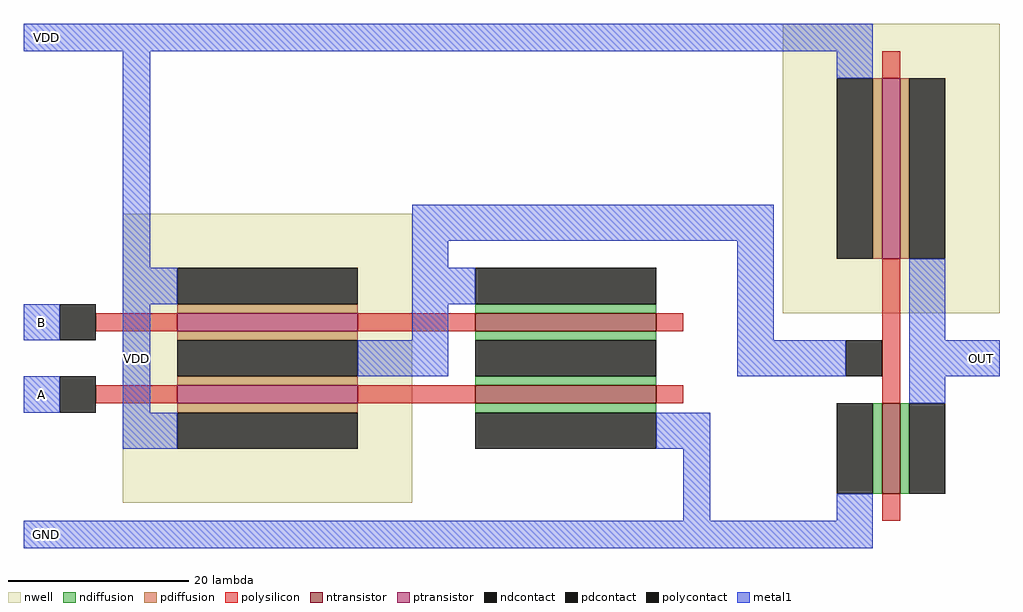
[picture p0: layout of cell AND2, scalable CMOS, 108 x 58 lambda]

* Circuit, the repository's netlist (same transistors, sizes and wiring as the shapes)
* SPICE3 file created from AND2.ext - technology: scmos

.option scale=0.09u

M1000 OUT a_n21_n16# VDD w_46_n8# cmosp w=20 l=2
+  ad=100 pd=50 as=300 ps=150
M1001 a_n21_n16# A VDD w_n27_n29# cmosp w=20 l=2
+  ad=120 pd=52 as=0 ps=0
M1002 VDD B a_n21_n16# w_n27_n29# cmosp w=20 l=2
+  ad=0 pd=0 as=0 ps=0
M1003 a_12_n16# A GND Gnd cmosn w=20 l=2
+  ad=120 pd=52 as=150 ps=80
M1004 OUT a_n21_n16# GND Gnd cmosn w=10 l=2
+  ad=50 pd=30 as=0 ps=0
M1005 a_n21_n16# B a_12_n16# Gnd cmosn w=20 l=2
+  ad=100 pd=50 as=0 ps=0

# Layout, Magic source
magic
tech scmos
<< nwell >>
rect -27 -29 5 3
rect 46 -8 70 24
<< ntransistor >>
rect 12 -10 32 -8
rect 12 -18 32 -16
rect 57 -28 59 -18
<< ptransistor >>
rect 57 -2 59 18
rect -21 -10 -1 -8
rect -21 -18 -1 -16
<< ndiffusion >>
rect 12 -8 32 -7
rect 12 -11 32 -10
rect 12 -16 32 -15
rect 12 -19 32 -18
rect 56 -28 57 -18
rect 59 -28 60 -18
<< pdiffusion >>
rect 56 -2 57 18
rect 59 -2 60 18
rect -21 -8 -1 -7
rect -21 -11 -1 -10
rect -21 -16 -1 -15
rect -21 -19 -1 -18
<< ndcontact >>
rect 12 -7 32 -3
rect 12 -15 32 -11
rect 12 -23 32 -19
rect 52 -28 56 -18
rect 60 -28 64 -18
<< pdcontact >>
rect 52 -2 56 18
rect 60 -2 64 18
rect -21 -7 -1 -3
rect -21 -15 -1 -11
rect -21 -23 -1 -19
<< polysilicon >>
rect 57 18 59 21
rect -30 -10 -21 -8
rect -1 -10 12 -8
rect 32 -10 35 -8
rect -30 -18 -21 -16
rect -1 -18 12 -16
rect 32 -18 35 -16
rect 57 -18 59 -2
rect 57 -31 59 -28
<< polycontact >>
rect -34 -11 -30 -7
rect -34 -19 -30 -15
rect 53 -15 57 -11
<< metal1 >>
rect -38 21 56 24
rect -27 -3 -24 21
rect 52 18 56 21
rect 5 0 45 4
rect 5 -3 9 0
rect -27 -7 -21 -3
rect 5 -7 12 -3
rect -38 -11 -34 -7
rect -38 -19 -34 -15
rect -27 -19 -24 -7
rect 5 -11 9 -7
rect 41 -11 45 0
rect 60 -11 64 -2
rect -1 -15 9 -11
rect 41 -15 53 -11
rect 60 -15 70 -11
rect 60 -18 64 -15
rect -27 -23 -21 -19
rect 32 -23 38 -19
rect 35 -31 38 -23
rect 52 -31 56 -28
rect -38 -34 56 -31
<< labels >>
rlabel metal1 -27 -23 -24 -3 3 VDD
rlabel metal1 -38 -19 -34 -15 3 A
rlabel metal1 -38 -11 -34 -7 3 B
rlabel metal1 66 -15 70 -11 7 OUT
rlabel metal1 -38 21 -33 24 4 VDD
rlabel metal1 -38 -34 -33 -31 2 GND
<< end >>
